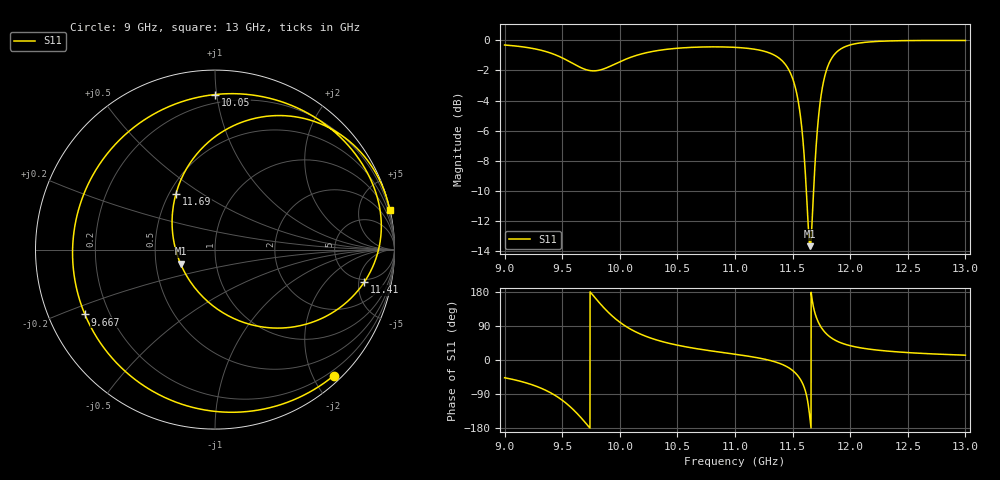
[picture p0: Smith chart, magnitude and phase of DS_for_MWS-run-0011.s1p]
! TOUCHSTONE file generated by CST DESIGN STUDIO
! Date and time: Tue Feb  4 13:54:36 2025
! Project name: C:\Work\MatlabApps\UnitCellOptimizationMatlab\CST\unitcell.cst
! Tree item: Tasks\Sweep1\SPara1\S-Parameters
! Header version: 2024
! Port assignment regex: !\s*Touchstone port\s*([0-9]+)\s*=\s*(CST MWS port|CST DES external port|CST DES block port)\s*(.+)\s* \(\"(.*)\"\)(\s*mode\s*([0-9]+))?.*
! Touchstone port assignment:
! Touchstone port 1 = CST DES external port 1 ("")
# GHz S MA R 50
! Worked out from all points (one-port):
!   4001 points, 9 GHz to 13 GHz, reference 50 ohm
!   lowest |S11| = -13.7 dB at 11.65 GHz (marker M1), VSWR 1.52, Z = 33.5 - j5.49 ohm
!   |S11| at or under -10 dB: 11.62 GHz to 11.68 GHz (62.75 MHz wide, 0.539 % of centre)
!   S11 on the Smith chart (normalised r, x): 9 GHz: 0.11, -2.31; 9.667 GHz: 0.11, -0.23; 10.05 GHz: 0.15, +0.99; 11.41 GHz: 4.48, -5.91; 11.69 GHz: 0.54, +0.39; 13 GHz: 0.06, +8.96
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9  0.9649 -46.8
9.272  0.9352 -69.0
9.403  0.9062 -87.1
9.5  0.8746 -106.0
9.584  0.8413 -127.4
9.667  0.81 -153.5
9.735  0.7942 -177.6
9.803  0.7934 157.8
9.901  0.8154 125.6
10  0.8488 99.7
10.046  0.8639 90.0
10.248  0.9126 60.1
10.5  0.9411 39.1
11  0.9476 15.2
11.263  0.9177 1.8
11.415  0.8509 -12.3
11.5  0.7473 -27.6
11.545  0.6399 -41.3
11.589  0.4705 -63.4
11.62  0.3133 -92.2
11.652  0.2075 -157.8
11.693  0.3793 125.0
11.738  0.6177 91.3
11.787  0.7798 71.1
11.878  0.9105 50.9
12  0.9654 37.7
12.5  0.9978 19.6
13  0.9986 12.7
